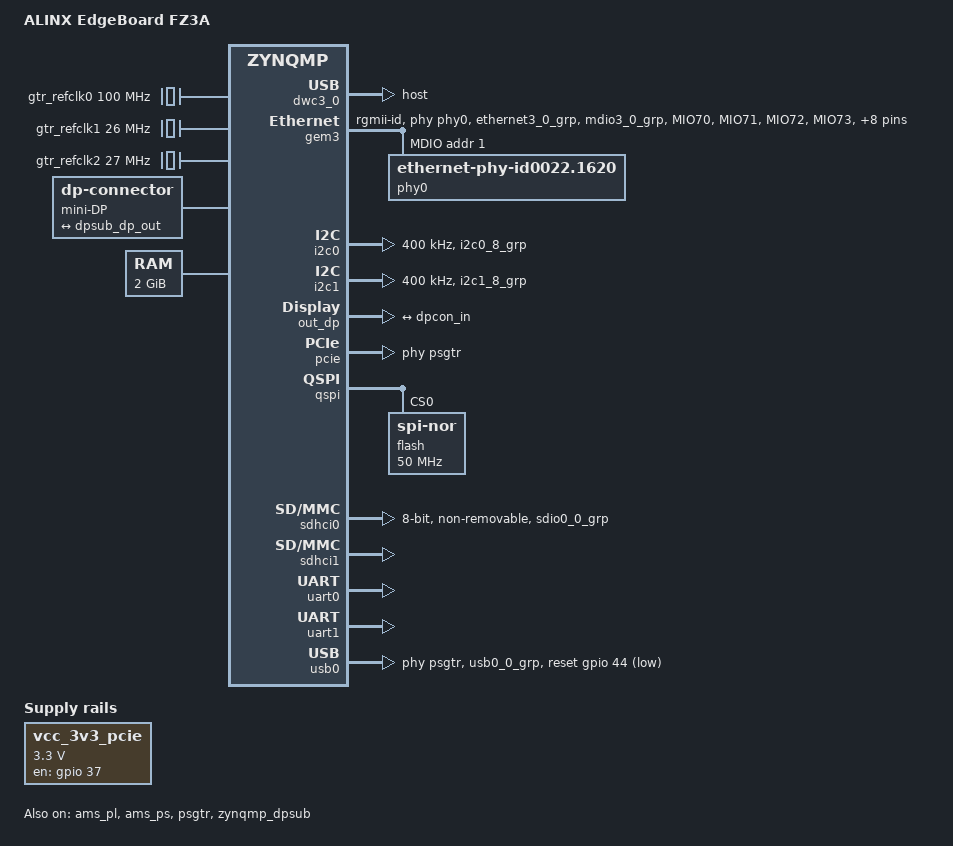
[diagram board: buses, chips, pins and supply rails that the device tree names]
// SPDX-License-Identifier: GPL-2.0
/*
 * Device tree for the ALINX EdgeBoard FZ3A
 * based on the Xilinx Zynq UltraScale+ XCZU3EG
 *
 * Product info: https://ai.baidu.com/tech/hardware/deepkit
 * Documentation: https://ai.baidu.com/ai-doc/HWCE/8kq9b2121
 *
 * Copyright (c) 2026 Pufan Jin
 */

/dts-v1/;
#include <dt-bindings/gpio/gpio.h>
#include <dt-bindings/interrupt-controller/arm-gic.h>
#include <dt-bindings/phy/phy.h>
#include <dt-bindings/pinctrl/pinctrl-zynqmp.h>
#include "zynqmp.dtsi"
#include "zynqmp-clk-ccf.dtsi"

/ {
	compatible = "alinx,edgeboard-fz3a", "xlnx,zynqmp";
	model = "ALINX EdgeBoard FZ3A";

	aliases {
		ethernet0 = &gem3;
		i2c0 = &i2c0;
		i2c1 = &i2c1;
		mmc0 = &sdhci0;
		mmc1 = &sdhci1;
		serial0 = &uart1;
		serial1 = &uart0;
		spi0 = &qspi;
		usb0 = &usb0;
	};

	chosen {
		stdout-path = "serial0:115200n8";
	};

	dp_aclk: clock-dp-aclk {
		compatible = "fixed-clock";
		#clock-cells = <0>;
		clock-frequency = <100000000>;
	};

	gtr_refclk0: clock-gtr-ref0 {
		compatible = "fixed-clock";
		#clock-cells = <0>;
		clock-frequency = <100000000>;
	};

	gtr_refclk1: clock-gtr-ref1 {
		compatible = "fixed-clock";
		#clock-cells = <0>;
		clock-frequency = <26000000>;
	};

	gtr_refclk2: clock-gtr-ref2 {
		compatible = "fixed-clock";
		#clock-cells = <0>;
		clock-frequency = <27000000>;
	};

	/*
	 * Vendor TF-A 1.8.1 does not register LPD_LSBUS (ID 31) into CCF.
	 * Provide a fixed-clock fallback for bus peripherals to probe.
	 */
	lpd_lsbus: clock-lpd-lsbus {
		compatible = "fixed-clock";
		#clock-cells = <0>;
		clock-frequency = <100000000>;
	};

	dpcon: connector {
		compatible = "dp-connector";
		label = "mini-DP";
		type = "mini";

		port {
			dpcon_in: endpoint {
				remote-endpoint = <&dpsub_dp_out>;
			};
		};
	};

	vcc_3v3_pcie: regulator-pcie {
		compatible = "regulator-fixed";
		enable-active-high;
		gpios = <&gpio 37 GPIO_ACTIVE_HIGH>;
		regulator-always-on;
		regulator-boot-on;
		regulator-max-microvolt = <3300000>;
		regulator-min-microvolt = <3300000>;
		regulator-name = "pcie-reset";
	};

	reserved_memory: reserved-memory {
		ranges;
		#address-cells = <2>;
		#size-cells = <2>;

		linux_cma: cma {
			compatible = "shared-dma-pool";
			alloc-ranges = <0x0 0x0 0x0 0x7ff00000>;
			reusable;
			size = <0x0 0x20000000>;
		};
	};

	memory@0 {
		device_type = "memory";
		reg = <0x0 0x0 0x0 0x7ff00000>;
	};
};

&ams_pl {
	status = "okay";
};

&ams_ps {
	status = "okay";
};

&dwc3_0 {
	dr_mode = "host";
	maximum-speed = "super-speed";
	snps,dis_enblslpm_quirk;
	snps,dis_u2_susphy_quirk;
	snps,hsphy_interface = "ulpi";
	snps,usb3_lpm_capable;

	status = "okay";
};

&gem3 {
	clocks = <&lpd_lsbus>, <&zynqmp_clk GEM3_REF>,
		 <&zynqmp_clk GEM3_TX>, <&zynqmp_clk GEM3_RX>,
		 <&zynqmp_clk GEM_TSU>;
	phy-handle = <&phy0>;
	phy-mode = "rgmii-id";
	pinctrl-0 = <&pinctrl_gem3_default>;
	pinctrl-names = "default";

	status = "okay";

	mdio {
		#address-cells = <1>;
		#size-cells = <0>;

		phy0: ethernet-phy@1 {
			compatible = "ethernet-phy-id0022.1620";
			reg = <1>;
		};
	};
};

&gpio {
	clocks = <&lpd_lsbus>;

	status = "okay";
};

&i2c0 {
	clock-frequency = <400000>;
	pinctrl-0 = <&pinctrl_i2c0_default>;
	pinctrl-names = "default";

	status = "okay";
};

&i2c1 {
	clock-frequency = <400000>;
	pinctrl-0 = <&pinctrl_i2c1_default>;
	pinctrl-names = "default";

	status = "okay";
};

&out_dp {
	dpsub_dp_out: endpoint {
		remote-endpoint = <&dpcon_in>;
	};
};

&pcie {
	phys = <&psgtr 0 PHY_TYPE_PCIE 0 0>;

	status = "okay";
};

&pinctrl0 {
	status = "okay";

	pinctrl_gem3_default: gem3-default {
		conf {
			groups = "ethernet3_0_grp";
			slew-rate = <SLEW_RATE_SLOW>;
		};

		conf-mdio {
			bias-disable;
			groups = "mdio3_0_grp";
			slew-rate = <SLEW_RATE_SLOW>;
		};

		conf-rx {
			low-power-disable;
			pins = "MIO70", "MIO71", "MIO72", "MIO73", "MIO74",
			       "MIO75";
		};

		conf-tx {
			bias-disable;
			low-power-enable;
			pins = "MIO64", "MIO65", "MIO66", "MIO67", "MIO68",
			       "MIO69";
		};

		mux {
			function = "ethernet3";
			groups = "ethernet3_0_grp";
		};

		mux-mdio {
			function = "mdio3";
			groups = "mdio3_0_grp";
		};
	};

	pinctrl_i2c0_default: i2c0-default {
		conf {
			bias-pull-up;
			groups = "i2c0_8_grp";
		};

		mux {
			function = "i2c0";
			groups = "i2c0_8_grp";
		};
	};

	pinctrl_i2c1_default: i2c1-default {
		conf {
			bias-pull-up;
			groups = "i2c1_8_grp";
		};

		mux {
			function = "i2c1";
			groups = "i2c1_8_grp";
		};
	};

	pinctrl_sdhci0_default: sdhci0-default {
		conf {
			bias-disable;
			groups = "sdio0_0_grp";
			slew-rate = <SLEW_RATE_SLOW>;
		};

		mux {
			function = "sdio0";
			groups = "sdio0_0_grp";
		};
	};

	pinctrl_usb0_default: usb0-default {
		mux {
			function = "usb0";
			groups = "usb0_0_grp";
		};
	};
};

&psgtr {
	clocks = <&gtr_refclk0>, <&gtr_refclk1>, <&gtr_refclk2>;
	clock-names = "ref0", "ref1", "ref2";

	status = "okay";
};

&qspi {
	clocks = <&zynqmp_clk QSPI_REF>, <&lpd_lsbus>;
	num-cs = <1>;

	status = "okay";

	flash: flash@0 {
		compatible = "jedec,spi-nor";
		reg = <0x0>;
		#address-cells = <1>;
		#size-cells = <1>;
		spi-max-frequency = <50000000>;
		spi-rx-bus-width = <4>;
		spi-tx-bus-width = <1>;
	};
};

&sdhci0 {
	assigned-clock-rates = <187498125>;
	bus-width = <8>;
	cap-mmc-hw-reset;
	clocks = <&zynqmp_clk SDIO0_REF>, <&lpd_lsbus>;
	disable-wp;
	mmc-hs200-1_8v;
	no-sd;
	no-sdio;
	non-removable;
	pinctrl-0 = <&pinctrl_sdhci0_default>;
	pinctrl-names = "default";
	xlnx,mio-bank = <0>;

	status = "okay";
};

&sdhci1 {
	clocks = <&zynqmp_clk SDIO1_REF>, <&lpd_lsbus>;
	disable-wp;
	no-1-8-v;

	status = "okay";
};

&uart0 {
	clocks = <&zynqmp_clk UART0_REF>, <&lpd_lsbus>;

	status = "okay";
};

&uart1 {
	clocks = <&zynqmp_clk UART1_REF>, <&lpd_lsbus>;

	status = "okay";
};

&usb0 {
	phys = <&psgtr 1 PHY_TYPE_USB3 0 1>;
	phy-names = "usb3-phy";
	pinctrl-0 = <&pinctrl_usb0_default>;
	pinctrl-names = "default";
	reset-gpios = <&gpio 44 GPIO_ACTIVE_LOW>;

	status = "okay";
};

&zynqmp_dpdma {
	status = "okay";
};

&zynqmp_dpsub {
	clocks = <&dp_aclk>,
		 <&zynqmp_clk DP_AUDIO_REF>,
		 <&zynqmp_clk DP_VIDEO_REF>;
	clock-names = "dp_apb_clk", "dp_aud_clk", "dp_vtc_pixel_clk_in";
	phys = <&psgtr 3 PHY_TYPE_DP 0 2>,
	       <&psgtr 2 PHY_TYPE_DP 1 2>;
	phy-names = "dp-phy0", "dp-phy1";

	status = "okay";
};
